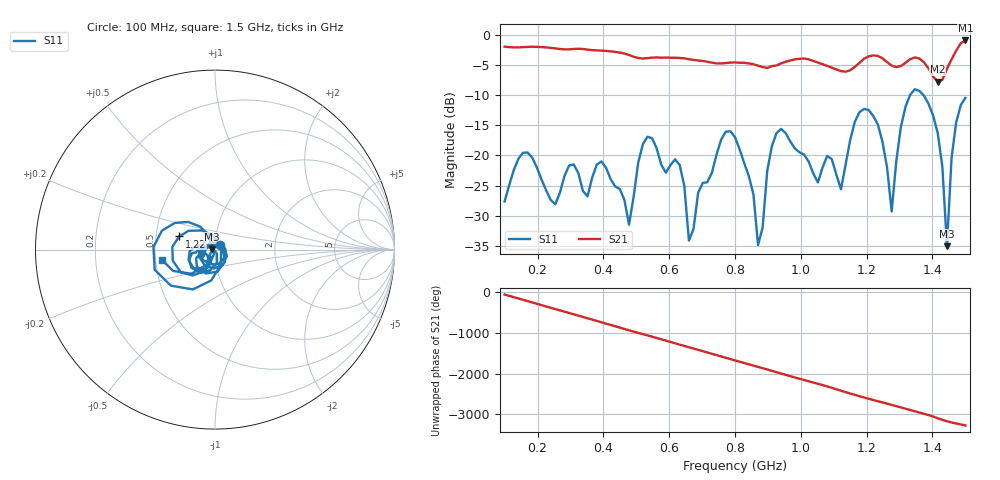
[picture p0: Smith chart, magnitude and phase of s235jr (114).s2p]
! NanoVNA-App
! Date: 2025-09-26 09:45:40
! Start: 100MHz Stop: 1,5GHz Points: 101
! S-Parameter data: F S11 S21 S12 S22
# Hz S RI R 50
!  Frequency  S11_Real  S11_Imag  S21_Real  S21_Imag  S12_Real  S12_Imag  S22_Real  S22_Imag
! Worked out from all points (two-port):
!   101 points, 100 MHz to 1.5 GHz, reference 50 ohm
!   highest |S21| = -0.92 dB at 1.5 GHz (marker M1); lowest = -7.7 dB at 1.416 GHz (marker M2)
!   |S21| within 3 dB of the highest: start of sweep to 519.5 MHz; 520.6 MHz to 648.5 MHz (127.9 MHz wide, 21.9 % of centre)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
!   lowest |S11| = -35.1 dB at 1.444 GHz (marker M3), VSWR 1.04, Z = 48.3 + j0.152 ohm
!   |S11| at or under -10 dB: start of sweep to 1.332 GHz; 1.373 GHz to end of sweep
!   S12 and S22 are empty: the file has one direction only
!   S11 on the Smith chart (normalised r, x): 100 MHz: 1.06, +0.06; 1.22 GHz: 0.66, +0.10; 1.5 GHz: 0.54, -0.07
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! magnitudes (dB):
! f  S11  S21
! 100 MHz  -27.6  -2.0
! 156 MHz  -19.6  -2.0
! 338 MHz  -25.9  -2.3
! 394 MHz  -21.0  -2.6
! 478 MHz  -31.5  -3.3
! 520 MHz  -18.2  -3.9
! 576 MHz  -21.5  -3.8
! 632 MHz  -21.6  -3.8
! 660 MHz  -34.1  -4.0
! 800 MHz  -17.0  -4.6
! 870 MHz  -34.9  -5.1
! 926 MHz  -16.3  -5.1
! 1.038 GHz  -23.0  -4.3
! 1.122 GHz  -25.6  -6.0
! 1.164 GHz  -14.4  -5.3
! 1.22 GHz  -13.4  -3.4
! 1.276 GHz  -29.3  -5.1
! 1.332 GHz  -10.0  -4.0
! 1.416 GHz  -16.3  -7.7
! 1.444 GHz  -35.1  -5.6
! 1.458 GHz  -20.4  -4.1
! 1.5 GHz  -10.5  -0.9
